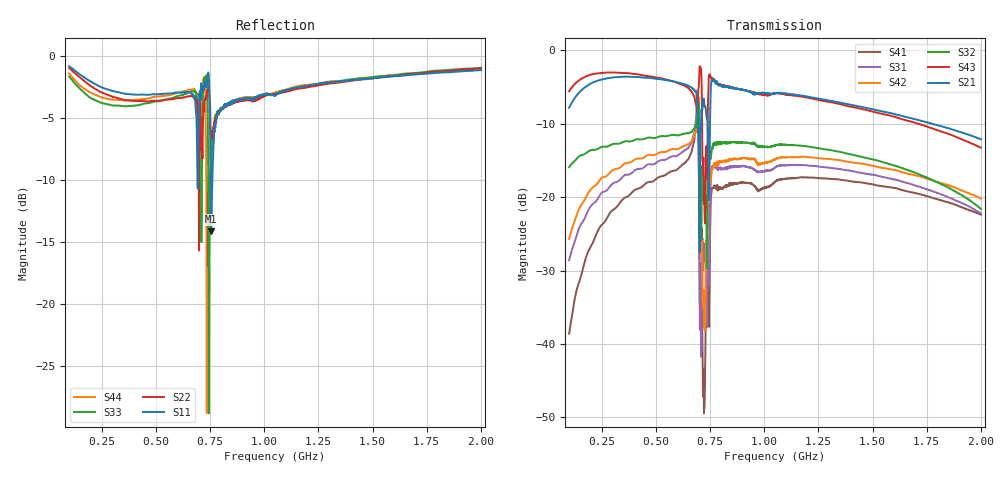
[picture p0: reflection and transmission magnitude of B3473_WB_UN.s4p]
! Matrix data file written by TouchstoneData, EPCOS AG
! FILENAME: "AB75A.WB.1.pli.snp"
! COMMENT: "(TS/AB75A.WB.1.s4p)"
! INFO: nport=4, nfreq=1601
! DATE: "Fri Sep  6 13:50:22 2013"
! USER: "BengChuan Ng"
! port | pin | signal
!  1  |  1  | input
!  2  |  2  | coupling
!  3  |  3  | coupling
!  4  |  4  | output
# MHZ S RI R 50
! freq  reS11 imS11  reS12 imS12  reS13 imS13  reS14 imS14  ...
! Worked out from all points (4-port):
!   1601 points, 100 MHz to 2 GHz, reference 50 ohm
!   strongest paths, dB at 100 MHz, 575 MHz, 1.05 GHz, 1.525 GHz, 2 GHz:
!     S21: -7.8, -4.2, -5.9, -8.2, -12.1
!     S43: -5.6, -4.2, -5.8, -8.5, -13.2
!     S32: -15.9, -11.5, -12.9, -15.0, -21.6
!     S42: -25.7, -13.4, -14.8, -15.9, -20.2
!     S31: -28.6, -14.4, -15.9, -17.1, -22.2
!     S41: -38.6, -16.4, -17.9, -18.4, -22.4
!   lowest |S11| = -14.1 dB at 755.5 MHz (marker M1), VSWR 1.49, Z = 71.7 + j10.2 ohm
!   |S11| at or under -10 dB: 692.3424 MHz to 694.1801 MHz (1.838 MHz wide, 0.265 % of centre); 752.6 MHz to 761.1 MHz (8.467 MHz wide, 1.12 % of centre)
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100  0.7536 -0.5084  0.2513 0.3203  -0.0169 0.0332  -0.0117 -0.000566
     0.2513 0.3203  0.6643 -0.5965  0.1126 0.1141  -0.0192 0.0484
     -0.0169 0.0332  0.1126 0.1141  0.4908 -0.6638  0.3905 0.3533
     -0.0117 -0.000566  -0.0192 0.0484  0.3905 0.3533  0.6327 -0.568
592.8125  -0.294 -0.6476  0.5561 -0.2526  0.1848 0.0457  0.1312 0.0778
          0.5561 -0.2526  -0.3807 -0.5565  0.2624 -0.0288  0.2092 0.0319
          0.1848 0.0457  0.2624 -0.0288  -0.4455 -0.5207  0.5274 -0.3005
          0.1312 0.0778  0.2092 0.0319  0.5274 -0.3005  -0.3499 -0.6136
686.625  -0.5814 -0.0688  0.2813 -0.4385  0.2622 -0.2371  0.256 -0.202
         0.2813 -0.4385  -0.6207 -0.2444  0.2865 -0.1323  0.2715 -0.115
         0.2622 -0.2371  0.2865 -0.1323  -0.6513 -0.2787  0.315 -0.2787
         0.256 -0.202  0.2715 -0.115  0.315 -0.2787  -0.6393 -0.3228
719.875  -0.3747 -0.6272  0.4525 -0.1212  0.0369 -0.000302  0.00534 -0.00414
         0.4525 -0.1212  0.0732 -0.598  0.0976 -0.0298  0.0144 -0.0183
         0.0369 -0.000302  0.0976 -0.0298  -0.4385 -0.5938  0.0401 -0.1819
         0.00534 -0.00414  0.0144 -0.0183  0.0401 -0.1819  -0.5523 -0.556
755.5  0.184 0.0682  0.5406 0.253  0.0383 0.1416  -0.0183 0.1028
       0.5406 0.253  -0.3216 -0.3636  0.1843 0.0636  0.1054 0.0888
       0.0383 0.1416  0.1843 0.0636  -0.1509 -0.3644  0.6528 -0.0317
       -0.0183 0.1028  0.1054 0.0888  0.6528 -0.0317  -0.0459 -0.3986
819.625  -0.2323 -0.5849  0.5304 -0.204  0.1539 0.0385  0.1005 0.0642
         0.5304 -0.204  -0.343 -0.5187  0.2356 -0.0238  0.1748 0.0315
         0.1539 0.0385  0.2356 -0.0238  -0.4041 -0.4766  0.5165 -0.2415
         0.1005 0.0642  0.1748 0.0315  0.5165 -0.2415  -0.2948 -0.5565
2000  -0.8729 -0.0883  0.0656 -0.2398  0.0356 -0.0692  0.0368 -0.0666
      0.0656 -0.2398  -0.8813 -0.126  0.0441 -0.0704  0.0414 -0.0888
      0.0356 -0.0692  0.0441 -0.0704  -0.8948 -0.00139  0.0443 -0.2131
      0.0368 -0.0666  0.0414 -0.0888  0.0443 -0.2131  -0.8873 -0.0531
